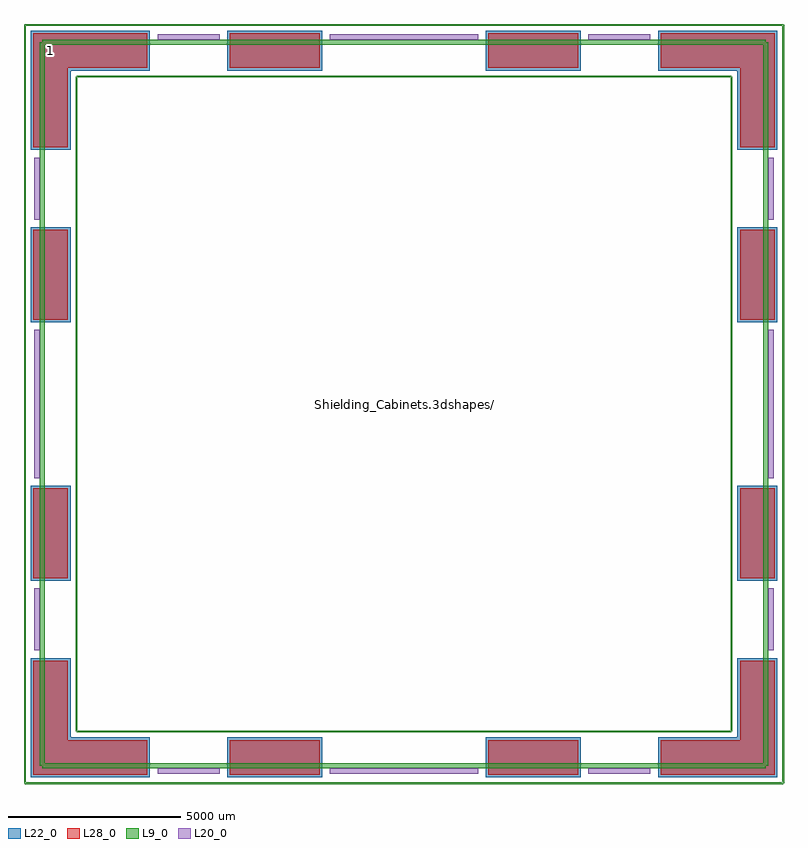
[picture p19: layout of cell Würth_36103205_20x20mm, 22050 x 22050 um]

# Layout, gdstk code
import gdstk
lib = gdstk.Library(unit=1e-6, precision=1e-09)
def R(c, l, rs):  # rectangles x0, y0, x1, y1
    for r in rs: c.add(gdstk.rectangle(r[:2], r[2:], *l))
L9_0 = (9, 0)
L20_0 = (20, 0)
L22_0 = (22, 0)
L28_0 = (28, 0)

w_rth_36103205_20x20mm = lib.new_cell('Würth_36103205_20x20mm')
R(w_rth_36103205_20x20mm, L22_0, [(-10825,-10825,-9675,-9675), (-9825,-10825,-7375,-9675), (-5125,-10825,-2375,-9675), (2375,-10825,5125,-9675), (7375,-10825,9825,-9675), (9675,-10825,10825,-9675), (-10825,-9825,-9675,-7375), (9675,-9825,10825,-7375), (-10825,-5125,-9675,-2375), (9675,-5125,10825,-2375), (-10825,2375,-9675,5125), (9675,2375,10825,5125), (-10825,7375,-9675,9825), (9675,7375,10825,9825), (-10825,9675,-9675,10825), (-9825,9675,-7375,10825), (-5125,9675,-2375,10825), (2375,9675,5125,10825), (7375,9675,9825,10825), (9675,9675,10825,10825)])
R(w_rth_36103205_20x20mm, L28_0, [(-10750,-10750,-9750,-9750), (-9750,-10750,-7450,-9750), (-5050,-10750,-2450,-9750), (2450,-10750,5050,-9750), (7450,-10750,9750,-9750), (9750,-10750,10750,-9750), (-10750,-9750,-9750,-7450), (9750,-9750,10750,-7450), (-10750,-5050,-9750,-2450), (9750,-5050,10750,-2450), (-10750,2450,-9750,5050), (9750,2450,10750,5050), (-10750,7450,-9750,9750), (9750,7450,10750,9750), (-10750,9750,-9750,10750), (-9750,9750,-7450,10750), (-5050,9750,-2450,10750), (2450,9750,5050,10750), (7450,9750,9750,10750), (9750,9750,10750,10750)])
w_rth_36103205_20x20mm.add(gdstk.FlexPath([(10650,-5350),(10650,-7150)], 149.998, ends="flush", simple_path=True, layer=20, datatype=0))  # L20_0
w_rth_36103205_20x20mm.add(gdstk.FlexPath([(-10650,-5350),(-10650,-7150)], 149.998, ends="flush", simple_path=True, layer=20, datatype=0))  # L20_0
w_rth_36103205_20x20mm.add(gdstk.FlexPath([(10650,2150),(10650,-2150)], 149.998, ends="flush", simple_path=True, layer=20, datatype=0))  # L20_0
w_rth_36103205_20x20mm.add(gdstk.FlexPath([(-10650,2150),(-10650,-2150)], 149.998, ends="flush", simple_path=True, layer=20, datatype=0))  # L20_0
w_rth_36103205_20x20mm.add(gdstk.FlexPath([(10650,7150),(10650,5350)], 149.998, ends="flush", simple_path=True, layer=20, datatype=0))  # L20_0
w_rth_36103205_20x20mm.add(gdstk.FlexPath([(-10650,7150),(-10650,5350)], 149.998, ends="flush", simple_path=True, layer=20, datatype=0))  # L20_0
w_rth_36103205_20x20mm.add(gdstk.FlexPath([(5350,-10650),(7150,-10650)], 149.998, ends="flush", simple_path=True, layer=20, datatype=0))  # L20_0
w_rth_36103205_20x20mm.add(gdstk.FlexPath([(5350,10650),(7150,10650)], 149.998, ends="flush", simple_path=True, layer=20, datatype=0))  # L20_0
w_rth_36103205_20x20mm.add(gdstk.FlexPath([(-2150,-10650),(2150,-10650)], 149.998, ends="flush", simple_path=True, layer=20, datatype=0))  # L20_0
w_rth_36103205_20x20mm.add(gdstk.FlexPath([(-2150,10650),(2150,10650)], 149.998, ends="flush", simple_path=True, layer=20, datatype=0))  # L20_0
w_rth_36103205_20x20mm.add(gdstk.FlexPath([(-7150,-10650),(-5350,-10650)], 149.998, ends="flush", simple_path=True, layer=20, datatype=0))  # L20_0
w_rth_36103205_20x20mm.add(gdstk.FlexPath([(-7150,10650),(-5350,10650)], 149.998, ends="flush", simple_path=True, layer=20, datatype=0))  # L20_0
w_rth_36103205_20x20mm.add(gdstk.FlexPath([(10500,10500),(-10500,10500)], 149.998, ends="flush", simple_path=True, layer=9, datatype=0))  # L9_0
w_rth_36103205_20x20mm.add(gdstk.FlexPath([(10500,-10500),(10500,10500)], 149.998, ends="flush", simple_path=True, layer=9, datatype=0))  # L9_0
w_rth_36103205_20x20mm.add(gdstk.FlexPath([(-10500,-10500),(10500,-10500)], 149.998, ends="flush", simple_path=True, layer=9, datatype=0))  # L9_0
w_rth_36103205_20x20mm.add(gdstk.FlexPath([(-10500,10500),(-10500,-10500)], 149.998, ends="flush", simple_path=True, layer=9, datatype=0))  # L9_0
w_rth_36103205_20x20mm.add(gdstk.FlexPath([(9500,9500),(-9500,9500)], 50, ends="flush", simple_path=True, layer=9, datatype=0))  # L9_0
w_rth_36103205_20x20mm.add(gdstk.FlexPath([(9500,-9500),(9500,9500)], 50, ends="flush", simple_path=True, layer=9, datatype=0))  # L9_0
w_rth_36103205_20x20mm.add(gdstk.FlexPath([(-9500,-9500),(9500,-9500)], 50, ends="flush", simple_path=True, layer=9, datatype=0))  # L9_0
w_rth_36103205_20x20mm.add(gdstk.FlexPath([(-9500,9500),(-9500,-9500)], 50, ends="flush", simple_path=True, layer=9, datatype=0))  # L9_0
w_rth_36103205_20x20mm.add(gdstk.FlexPath([(11000,11000),(-11000,11000)], 50, ends="flush", simple_path=True, layer=9, datatype=0))  # L9_0
w_rth_36103205_20x20mm.add(gdstk.FlexPath([(11000,-11000),(11000,11000)], 50, ends="flush", simple_path=True, layer=9, datatype=0))  # L9_0
w_rth_36103205_20x20mm.add(gdstk.FlexPath([(-11000,-11000),(11000,-11000)], 50, ends="flush", simple_path=True, layer=9, datatype=0))  # L9_0
w_rth_36103205_20x20mm.add(gdstk.FlexPath([(-11000,11000),(-11000,-11000)], 50, ends="flush", simple_path=True, layer=9, datatype=0))  # L9_0
w_rth_36103205_20x20mm.add(gdstk.Label('Shielding_Cabinets.3dshapes/Würth_36103205_20x20mm.wrl', (0,0), layer=12, texttype=0))
w_rth_36103205_20x20mm.add(gdstk.Label('1', (-10250,10250), layer=28, texttype=0))
w_rth_36103205_20x20mm.add(gdstk.Label('type', (0,-11750), layer=9, texttype=0))
w_rth_36103205_20x20mm.add(gdstk.Label('devicename', (0,11750), layer=9, texttype=0))

lib.write_gds('Würth_36103205_20x20mm.gds')
